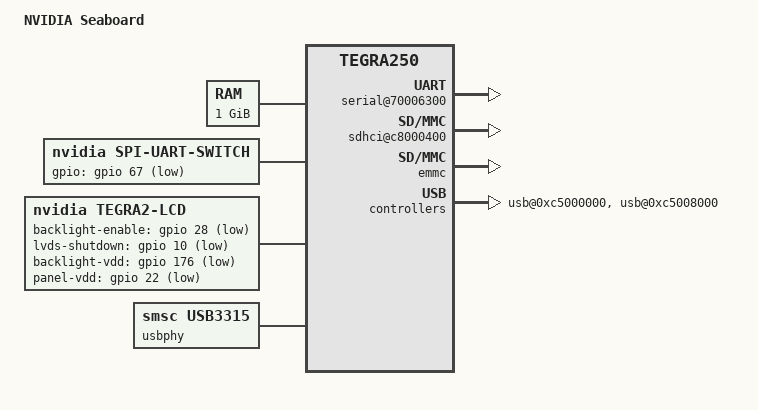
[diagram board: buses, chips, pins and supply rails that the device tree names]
/dts-v1/;

/memreserve/ 0x1c000000 0x04000000;
/include/ "tegra250.dtsi"
/include/ "chromeos.dtsi"
/include/ "flashmap-twostop-2mb.dtsi"

/ {
	model = "NVIDIA Seaboard";
	compatible = "nvidia,seaboard", "nvidia,tegra250";

	config {
		odmdata = <0x300d8011>;
		hwid = "ARM SEABOARD TEST 1176";
		machine-arch-id = <3005>;

		/* Chrome OS specific GPIO port number */
		gpio_port_write_protect_switch	= <59>;
		gpio_port_recovery_switch	= <56>;
		gpio_port_developer_switch	= <168>;
		gpio_port_lid_switch		= <23>;
		gpio_port_power_switch		= <170>;

		/* GPIO polarity: 0=active_low, 1=active_high */
		polarity_write_protect_switch	= <1>;
		polarity_recovery_switch	= <0>;
		polarity_developer_switch	= <1>;
		polarity_lid_switch		= <0>;
		polarity_power_switch		= <0>;
	};

	aliases {
		console = "/serial@70006300";
                usb0 = "/usb@0xc5008000";
                usb1 = "/usb@0xc5000000";

		sdmmc0 = "/sdhci@c8000600";
		sdmmc1 = "/sdhci@c8000400";

		i2c0 = "/i2c@0x7000d000";
		i2c1 = "/i2c@0x7000c000";
		i2c2 = "/i2c@0x7000c400";
		i2c3 = "/i2c@0x7000c500";
	};

	memory {
		device_type = "memory";
		reg = <0x00000000 0x40000000>;
	};

	serial@70006300 {
		status = "ok";
		clock-frequency = <216000000>;
	};

	/*
	 * Seaboard has a switch on GPIO67 which affects this UART. Until
	 * pinmux support is added to the FDT it is not clear how to do this,
	 * so this is a stop-gap.
	 */
	switch {
		compatible = "nvidia,spi-uart-switch";
		uart = <&uart3>;

		/* Parameter 3 bit 0:1=output, 0=input; bit 1:1=high, 0=low */
		gpios = <&gpio 67 1>; /* Port I = 8 bit = 3: 8 * 8 + 3 */
	};

	sdhci@c8000400 {
		status = "ok";
		width = <4>;	/* width of SDIO port */
		removable = <1>;
		/* Parameter 3 bit 0:1=output, 0=input; bit 1:1=high, 0=low */
		cd-gpio = <&gpio 69 0>; /* card detect, gpio PI5 */
		wp-gpio = <&gpio 57 0>; /* write protect, gpio PH1 */
		power-gpio = <&gpio 70 3>; /* power enable, gpio PI6 */
	};

	emmc: sdhci@c8000600 {
		status = "ok";
		width = <4>;	/* width of SDIO port */
		removable = <0>;
	};

	lcd {
		compatible = "nvidia,tegra2-lcd";
		width = <1366>;
		height = <768>;
		bits_per_pixel = <16>;
		pwfm = <&pwfm2>;
		display = <&display1>;
                /* frame-buffer location = top of memory - carveout - fb */
                frame-buffer = <0x2f680000>;

		pixel_clock = <70600000>;

		/* Timing: ref_to_sync, sync_width. back_porch, front_porch */
		horiz_timing = <11 58 58 58>;
		vert_timing = <1 4 4 4>;

		/* Parameter 3 bit 0:1=output, 0=input; bit 1:1=high, 0=low */
		backlight-enable = <&gpio 28 1>;	/* PD4 */
		lvds-shutdown = <&gpio 10 1>;		/* PB2 */
		backlight-vdd = <&gpio 176 1>;		/* PW0 */
		panel-vdd = <&gpio 22 1>;		/* PC6 */

		/*
		 * Panel required timings
		 * Timing 1: delay between panel_vdd-rise and data-rise
		 * Timing 2: delay between data-rise and backlight_vdd-rise
		 * Timing 3: delay between backlight_vdd and pwm-rise
		 * Timing 4: delay between pwm-rise and backlight_en-rise
		 */
		panel-timings = <4 203 17 15>;
	};

	usb@0xc5000000 {
		status = "ok";
		host-mode = <1>;
	};

	usbphy: usbphy@0 {
		compatible = "smsc,usb3315";
		status = "ok";
	};

	usb@0xc5008000 {
		status = "ok";
		utmi = <&usbphy>;
		host-mode = <0>;
	};

	kbc@0x7000e200 {
		keycode-plain    = [00  00  'w' 's' 'a' 'z' 00  DE
				    00  00  00  00  00  00  00  00
				    00  00  00  00  00  00  00  00
				    '5' '4' 'r' 'e' 'f' 'd' 'x' 00
				    '7' '6' 't' 'h' 'g' 'v' 'c' ' '
				    '9' '8' 'u' 'y' 'j' 'n' 'b' 5C
				    '-' '0' 'o' 'i' 'l' 'k' ',' 'm'
				    00  '=' ']' 0D  00  00  00  00
				    00  00  00  00  DF  DF  00  00
				    00  00  00  00  00  DC  00  DD
				    00  00  00  00  00  00  00  00
				    '[' 'p' 27  ';' '/' '.' 00  00
				    00  00  08  '3' '2' 1E  00  00
				    00  7F  00  00  00  1D  1F  1C
				    00  00  00  'q' 00  00  '1' 00
				    1B  '`' 00  09  00  00  00  00];

		keycode-shift    = [00  00  'W' 'S' 'A' 'Z' 00  00
				    00  00  00  00  00  00  00  00
				    00  00  00  00  00  00  00  00
				    '%' '$' 'R' 'E' 'F' 'D' 'X' 00
				    '&' '^' 'T' 'H' 'G' 'V' 'C' ' '
				    '(' '*' 'U' 'Y' 'J' 'N' 'B' '|'
				    '_' ')' 'O' 'I' 'L' 'K' '<' 'M'
				    00  '+' '}' 0D  00  00  00  00
				    00  00  00  00  00  00  00  00
				    00  00  00  00  00  00  00  00
				    00  00  00  00  00  00  00  00
				    '{' 'P' '"' ':' '?' '>' 00  00
				    00  00  08  '#' '@' 00  00  00
				    00  7F  00  00  00  00  00  00
				    00  00  00  'Q' 00  00  '!' 00
				    1B  '~' 00  09  00  00  00  00];

		keycode-fn       = [00  00  00  00  00  00  00  00
				    00  00  00  00  00  00  00  00
				    00  00  00  00  00  00  00  00
				    00  00  00  00  00  00  00  00
				    '7' 00  00  00  00  00  00  00
				    '9' '8' '4' 00  '1' 00  00  00
				    00  '/' '6' '5' '3' '2' 00  '0'
				    00  00  00  00  00  00  00  00
				    00  00  00  00  00  00  00  00
				    00  00  00  00  00  00  00  00
				    00  00  00  00  00  00  00  00
				    00  27  00  '-' '+' '.' 00  00
				    00  00  00  00  00  00  00  00
				    00  00  00  00  00  00  00  00
				    00  00  00  00  00  00  00  00
				    00  00  00  00  '?' 00  00  00];

		keycode-ctrl     = [00  00  17  13  01  1a  00  00
				    00  00  00  00  00  00  00  00
				    00  00  00  00  00  00  00  00
				    00  00  12  05  06  04  18  00
				    00  00  14  08  07  16  03  00
				    00  00  15  19  0a  0e  02  00
				    00  00  0f  09  0c  0b  00  0d
				    00  00  00  00  00  00  00  00
				    00  00  00  00  00  00  00  00
				    00  00  00  00  00  00  00  00
				    00  00  00  00  00  00  00  00
				    00  10  00  00  00  00  00  00
				    00  00  00  00  00  00  00  00
				    00  00  00  00  00  00  00  00
				    00  00  00  11  00  00  00  00
				    00  00  00  00  00  00  00  00];
		};
};
